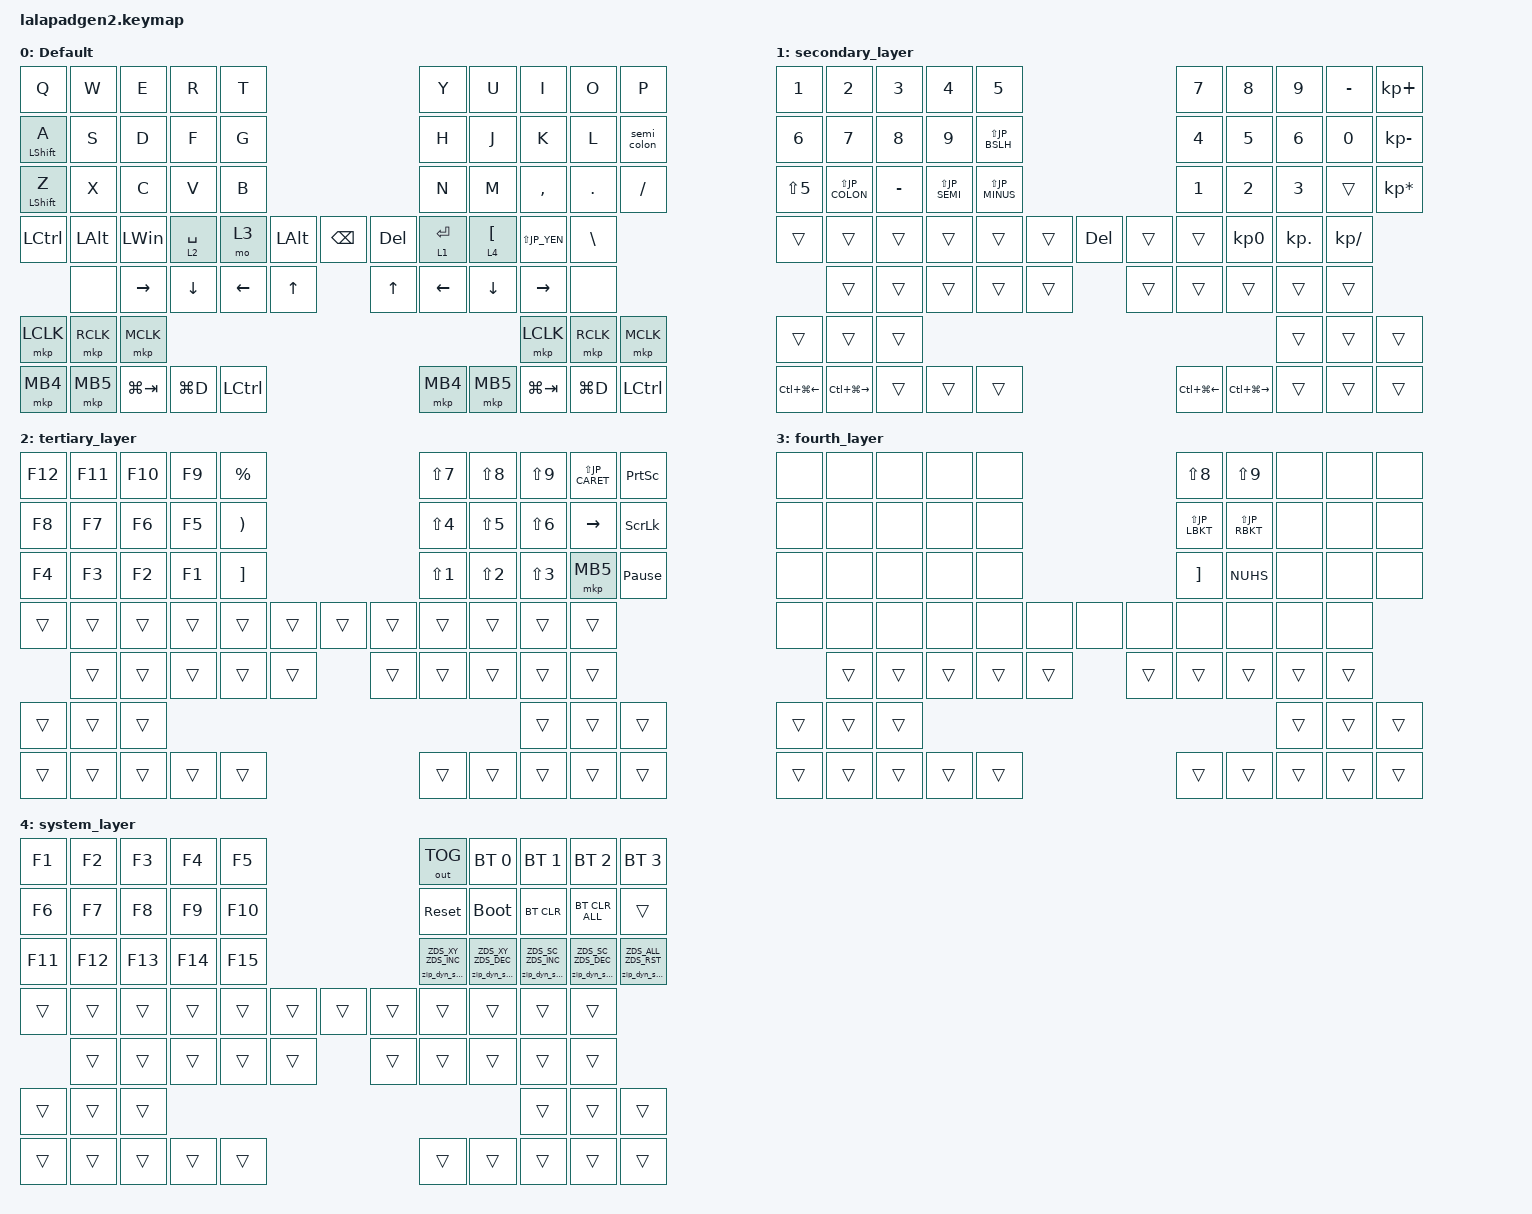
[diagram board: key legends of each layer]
#include <input/processors.dtsi>
#include <dt-bindings/zmk/zip_dynamic_scale.h>
#include <behaviors.dtsi>
#include <dt-bindings/zmk/bt.h>
#include <dt-bindings/zmk/keys.h>
#include <dt-bindings/zmk/outputs.h>
#include <dt-bindings/zmk/pointing.h>

#define DEFAULT_LAYER   0
#define SECONDARY_LAYER 1
#define TERTIARY_LAYER  2
#define FOURTH_LAYER    3
#define SYSTEM_LAYER    4


/* JIS Key Aliases */
#define JP_ZKHK  GRAVE
#define JP_MINUS MINUS
#define JP_CARET EQUAL
#define JP_YEN   INT3
#define JP_AT    LBKT
#define JP_LBKT  RBKT
#define JP_EISU  CAPS
#define JP_SEMI  SEMI
#define JP_COLON SQT
#define JP_RBKT  NUHS
#define JP_COMMA COMMA
#define JP_DOT   DOT
#define JP_SLASH SLASH
#define JP_BSLH  INT1
#define JP_MHEN  INT5
#define JP_HENK  INT4
#define JP_KANA  INT2
#define JP_EXCL  LS(N1)
#define JP_DQT   LS(N2)
#define JP_HASH  LS(N3)
#define JP_DLLR  LS(N4)
#define JP_PRCNT LS(N5)
#define JP_AMPS  LS(N6)
#define JP_SQT   LS(N7)
#define JP_LPAR  LS(N8)
#define JP_RPAR  LS(N9)
#define JP_EQUAL LS(JP_MINUS)
#define JP_TILDE LS(JP_CARET)
#define JP_PIPE  LS(JP_YEN)
#define JP_GRAVE LS(JP_AT)
#define JP_LBRC  LS(JP_LBKT)
#define JP_CAPS  LS(JP_EISU)
#define JP_PLUS  LS(JP_SEMI)
#define JP_ASTRK LS(JP_COLON)
#define JP_RBRC  LS(JP_RBKT)
#define JP_LT    LS(JP_COMMA)
#define JP_RT    LS(JP_DOT)
#define JP_QMARK LS(JP_SLASH)
#define JP_UNDER LS(JP_BSLH)
#define JP_EQUA  LS(JP_EQUAL)

&mt { quick-tap-ms = <200>; };

&lt { quick-tap-ms = <200>; };

/ {
    behaviors {
        zip_dyn_scale: zip_dyn_scale {
            compatible = "zmk,behavior-zip-dynamic-scale";
            #binding-cells = <2>;
        };

        zip_dyn_scale_set: zip_dyn_scale_set {
            compatible = "zmk,behavior-zip-dynamic-scale-set";
            #binding-cells = <2>;
        };

        mt2: mod_tap2 {
            compatible = "zmk,behavior-hold-tap";
            #binding-cells = <2>;
            flavor = "tap-preferred";
            tapping-term-ms = <200>;
            quick-tap-ms = <200>;
            require-prior-idle-ms = <125>;
            bindings = <&kp>, <&kp>;
        };

        tap_dance_layer_1and2: tap_dance_layer_1and2 {
            compatible = "zmk,behavior-tap-dance";
            label = "td_mo12";
            #binding-cells = <0>;
            bindings = <&mo 1>, <&mo 2>;
        };

        semi_colon: semi_colon {
            compatible = "zmk,behavior-mod-morph";
            #binding-cells = <0>;
            bindings = <&kp JP_SEMI>, <&kp JP_COLON>;
            mods = <(MOD_LSFT|MOD_RSFT)>;
        };
    };

    combos {
        compatible = "zmk,combos";

        CONBO_ESC {
            bindings = <&kp JP_ZKHK>;
            key-positions = <0 1>;
        };

        CONBO_JPAT {
            bindings = <&kp JP_AT>;
            key-positions = <8 9>;
        };

        COMBO_TAB {
            bindings = <&kp TAB>;
            key-positions = <10 11>;
        };

        COMBO_JP_PIPE {
            bindings = <&kp ESCAPE>;
            key-positions = <18 19>;
        };
    };

    keymap {
        compatible = "zmk,keymap";

        DEFAULT_LAYER {
            display-name = "Default";
            bindings = <
&kp Q              &kp W      &kp E         &kp R          &kp T                                     &kp Y      &kp U     &kp I           &kp O           &kp P
&mt2 LEFT_SHIFT A  &kp S      &kp D         &kp F          &kp G                                     &kp H      &kp J     &kp K           &kp L           &semi_colon
&mt2 LEFT_SHIFT Z  &kp X      &kp C         &kp V          &kp B                                     &kp N      &kp M     &kp COMMA       &kp PERIOD      &kp SLASH
&kp LCTRL          &kp LALT   &kp LWIN      &lt 2 SPACE    &mo 3  &kp LALT  &kp BSPC       &kp DEL   &lt 1 RET &lt 4 JP_AT  &kp JP_PIPE     &kp BACKSLASH
                   &none      &kp RIGHT     &kp DOWN   &kp LEFT   &kp UP          &kp UP         &kp LEFT   &kp DOWN  &kp RIGHT       &none
&mkp LCLK          &mkp RCLK  &mkp MCLK                                                                               &mkp LCLK       &mkp RCLK       &mkp MCLK
&mkp MB4           &mkp MB5   &kp LG(TAB)   &kp LG(D)  &kp LCTRL                                 &mkp MB4   &mkp MB5  &kp LG(TAB)     &kp LG(D)       &kp LCTRL
            >;
        };

        SECONDARY_LAYER {
            display-name = "secondary_layer";
            bindings = <
&kp NUMBER_1      &kp NUMBER_2       &kp NUMBER_3  &kp NUMBER_4  &kp N5                    &kp N7    &kp N8  &kp N9  &kp JP_MINUS      &kp KP_PLUS
&kp NUMBER_6      &kp N7             &kp N8        &kp N9        &kp JP_UNDER              &kp N4    &kp N5  &kp N6  &kp N0            &kp KP_MINUS
&kp JP_PRCNT      &kp JP_ASTRK       &kp JP_MINUS  &kp JP_PLUS   &kp JP_EQUAL              &kp N1    &kp N2  &kp N3  &trans            &kp KP_ASTERISK
&trans            &trans             &trans        &trans        &trans   &trans  &kp DEL  &trans            &trans             &kp KP_NUMBER_0  &kp KP_DOT       &kp KP_DIVIDE
                  &trans             &trans        &trans        &trans   &trans  &trans   &trans            &trans             &trans           &trans
&trans            &trans             &trans                                                                                     &trans           &trans           &trans
&kp LC(LG(LEFT))  &kp LC(LG(RIGHT))  &trans        &trans        &trans                    &kp LC(LG(LEFT))  &kp LC(LG(RIGHT))  &trans           &trans           &trans
            >;
        };

        TERTIARY_LAYER {
            display-name = "tertiary_layer";
            bindings = <
&kp F12       &kp F11    &kp F10      &kp F9   &kp PERCENT                            &kp JP_SQT    &kp JP_LPAR   &kp JP_RPAR    &kp JP_TILDE  &kp PRINTSCREEN
&kp F8        &kp F7     &kp F6       &kp F5   &kp RIGHT_PARENTHESIS                  &kp JP_DLLR   &kp JP_PRCNT  &kp JP_AMPS    &kp RIGHT     &kp SCROLLLOCK
&kp F4        &kp F3     &kp F2       &kp F1   &kp RIGHT_BRACKET                      &kp JP_EXCL   &kp JP_DQT    &kp JP_HASH    &mkp MB5      &kp PAUSE_BREAK
&trans           &trans         &trans        &trans                &trans                 &trans  &trans  &trans         &trans    &trans          &trans     &trans
                 &trans         &trans        &trans                &trans                 &trans  &trans  &trans         &trans    &trans          &trans
&trans           &trans         &trans                                                                                              &trans          &trans     &trans
&trans           &trans         &trans        &trans                &trans                                 &trans         &trans    &trans          &trans     &trans
            >;
        };

        FOURTH_LAYER {
            display-name = "fourth_layer";
            bindings = <
&none  &none  &none  &none  &none                   &kp JP_LPAR                   &kp JP_RPAR                   &none                      &none                      &none
&none  &none  &none  &none  &none                   &kp JP_LBRC                   &kp JP_RBRC                   &none                      &none                      &none
&none  &none  &none  &none  &none                   &kp JP_LBKT                   &kp JP_RBKT                   &none                      &none                      &none
&none  &none  &none  &none  &none  &none  &none  &none                   &none                   &none                   &none                   &none
         &trans   &trans   &trans   &trans   &trans  &trans  &trans                         &trans                         &trans                         &trans
&trans   &trans   &trans                                                                                                   &trans                         &trans                         &trans
&trans   &trans   &trans   &trans   &trans                   &trans                         &trans                         &trans                         &trans                         &trans
            >;
        };


        SYSTEM_LAYER {
            display-name = "system_layer";
            bindings = <
&kp F1   &kp F2   &kp F3   &kp F4   &kp F5                   &out OUT_TOG                   &bt BT_SEL 0                   &bt BT_SEL 1                   &bt BT_SEL 2                   &bt BT_SEL 3
&kp F6   &kp F7   &kp F8   &kp F9   &kp F10                  &sys_reset                     &bootloader                    &bt BT_CLR                     &bt BT_CLR_ALL                 &trans
&kp F11  &kp F12  &kp F13  &kp F14  &kp F15                  &zip_dyn_scale ZDS_XY ZDS_INC  &zip_dyn_scale ZDS_XY ZDS_DEC  &zip_dyn_scale ZDS_SC ZDS_INC  &zip_dyn_scale ZDS_SC ZDS_DEC  &zip_dyn_scale ZDS_ALL ZDS_RST
&trans   &trans   &trans   &trans   &trans   &trans  &trans  &trans                         &trans                         &trans                         &trans                         &trans
         &trans   &trans   &trans   &trans   &trans  &trans  &trans                         &trans                         &trans                         &trans
&trans   &trans   &trans                                                                                                   &trans                         &trans                         &trans
&trans   &trans   &trans   &trans   &trans                   &trans                         &trans                         &trans                         &trans                         &trans
            >;
        };
    };

/*    conditional_layers {
        compatible = "zmk,conditional-layers";

        Cond_Syslayer {
            if-layers = <1 2>;
            then-layer = <3>;
        };
    };
*/
};
